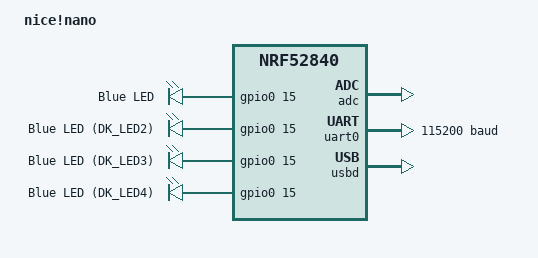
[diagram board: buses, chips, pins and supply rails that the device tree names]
// SPDX-License-Identifier: MIT

// Vendored from ZMK (commit c06fa48^, pre-HWMv2 layout
// app/boards/arm/nice_nano/nice_nano.dtsi) for use with NCS 2.6.1 /
// Zephyr 3.5. Changes vs upstream ZMK:
// - Dropped `#include "arduino_pro_micro_pins.dtsi"`: the
//   `arduino-pro-micro` connector binding only exists in ZMK, and the
//   802.15.4 sniffer does not need the Pro Micro pin mapping.
// - Single blue LED (P0.15) is exposed as four DK LED nodes so the
//   Nordic dk_buttons_and_leds library (DK_LED1 heartbeat, DK_LED4
//   packet activity) drives the one available LED.

#include <nordic/nrf52840_qiaa.dtsi>
#include "nice_nano-pinctrl.dtsi"

/ {
	model = "nice!nano";
	compatible = "nice,nano";

	chosen {
		zephyr,code-partition = &code_partition;
		zephyr,sram = &sram0;
		zephyr,flash = &flash0;
	};

	leds {
		compatible = "gpio-leds";
		led0: led_0 {
			gpios = <&gpio0 15 GPIO_ACTIVE_HIGH>;
			label = "Blue LED";
		};
		led1: led_1 {
			gpios = <&gpio0 15 GPIO_ACTIVE_HIGH>;
			label = "Blue LED (DK_LED2)";
		};
		led2: led_2 {
			gpios = <&gpio0 15 GPIO_ACTIVE_HIGH>;
			label = "Blue LED (DK_LED3)";
		};
		led3: led_3 {
			gpios = <&gpio0 15 GPIO_ACTIVE_HIGH>;
			label = "Blue LED (DK_LED4)";
		};
	};

	aliases {
		led0 = &led0;
		led1 = &led1;
		led2 = &led2;
		led3 = &led3;
	};
};

&adc {
	status = "okay";
};

&gpiote {
	status = "okay";
};

&gpio0 {
	status = "okay";
};

&gpio1 {
	status = "okay";
};

&i2c0 {
	compatible = "nordic,nrf-twi";
	pinctrl-0 = <&i2c0_default>;
	pinctrl-1 = <&i2c0_sleep>;
	pinctrl-names = "default", "sleep";
};

&spi1 {
	compatible = "nordic,nrf-spim";
	pinctrl-0 = <&spi1_default>;
	pinctrl-1 = <&spi1_sleep>;
	pinctrl-names = "default", "sleep";
};

&uart0 {
	compatible = "nordic,nrf-uarte";
	current-speed = <115200>;
	pinctrl-0 = <&uart0_default>;
	pinctrl-1 = <&uart0_sleep>;
	pinctrl-names = "default", "sleep";
};

zephyr_udc0: &usbd {
	status = "okay";

	cdc_acm_uart: cdc_acm_uart {
		compatible = "zephyr,cdc-acm-uart";
	};
};

&flash0 {
	/*
	 * Partition layout matches the Adafruit nRF52 UF2 bootloader
	 * (Double-reset "NICENANO" MSC): SoftDevice/MBR region kept at
	 * 0x0-0x26000, application linked at 0x26000 via
	 * zephyr,code-partition + CONFIG_USE_DT_CODE_PARTITION, bootloader
	 * reserved at the top of flash.
	 */
	partitions {
		compatible = "fixed-partitions";
		#address-cells = <1>;
		#size-cells = <1>;

		sd_partition: partition@0 {
			reg = <0x00000000 0x00026000>;
		};
		code_partition: partition@26000 {
			reg = <0x00026000 0x000c6000>;
		};

		/*
		 * The flash starting at 0x000ec000 and ending at
		 * 0x000f3fff is reserved for use by the application.
		 */

		/*
		 * Storage partition will be used by FCB/LittleFS/NVS
		 * if enabled.
		 */
		storage_partition: partition@ec000 {
			reg = <0x000ec000 0x00008000>;
		};

		boot_partition: partition@f4000 {
			reg = <0x000f4000 0x0000c000>;
		};
	};
};
